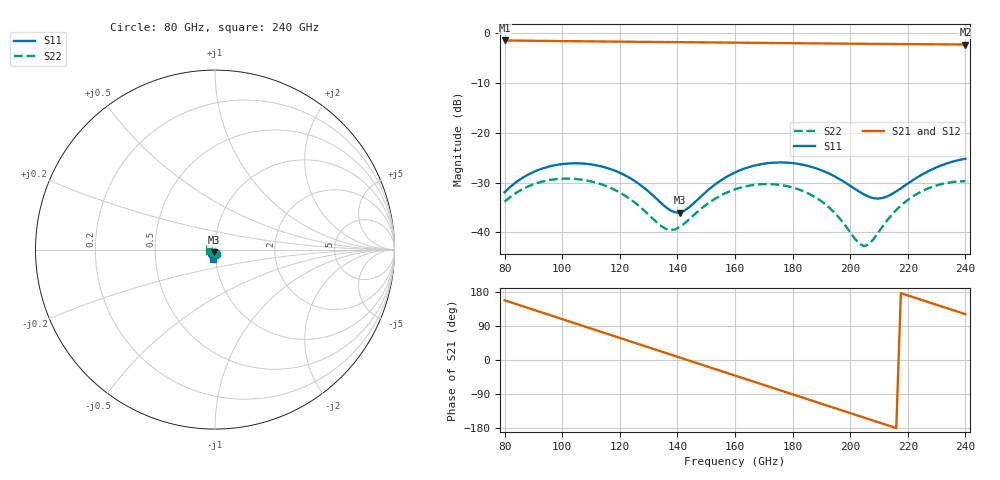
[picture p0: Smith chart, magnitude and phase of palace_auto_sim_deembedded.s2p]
! Created with skrf 1.11.0 (http://scikit-rf.org).
# GHz S DB R 50.0
!freq dBS11 angS11 dBS21 angS21 dBS12 angS12 dBS22 angS22
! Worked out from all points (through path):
!   101 points, 80 GHz to 240 GHz, reference 50 ohm
!   highest |S21| = -1.40 dB at 80 GHz (marker M1); lowest = -2.2 dB at 240 GHz (marker M2)
!   group delay of S21, straight-line fit = 6.89 ps
!   lowest |S11| = -36.0 dB at 140.8 GHz (marker M3), VSWR 1.03, Z = 49.4 - j1.43 ohm
!   |S11| at or under -10 dB: start of sweep to end of sweep
!   |S22| runs from -42.8 to -29.2 dB; largest |S21 - S12| = 1.4e-13
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80  -31.95 -75.3  -1.40 157.6  -1.40 157.6  -33.86 -85.7
86.4  -29.00 -81.5  -1.44 141.6  -1.44 141.6  -31.29 -94.4
94.4  -26.95 -95.2  -1.50 121.8  -1.50 121.8  -29.64 -110.7
100.8  -26.24 -107.4  -1.54 105.9  -1.54 105.9  -29.22 -124.7
107.2  -26.18 -119.6  -1.57 90.0  -1.57 90.0  -29.46 -138.7
120  -28.04 -141.2  -1.64 58.2  -1.64 58.2  -32.02 -162.9
128  -30.87 -148.3  -1.69 38.4  -1.69 38.4  -35.40 -169.2
134.4  -34.17 -142.0  -1.72 22.5  -1.72 22.5  -38.78 -157.5
137.6  -35.65 -130.3  -1.73 14.5  -1.73 14.5  -39.59 -142.8
140.8  -36.05 -113.4  -1.75 6.6  -1.75 6.6  -38.97 -127.7
150.4  -31.65 -86.0  -1.80 -17.2  -1.80 -17.2  -34.31 -115.4
160  -27.98 -91.7  -1.85 -41.1  -1.85 -41.1  -31.38 -128.1
168  -26.43 -103.0  -1.89 -60.9  -1.89 -60.9  -30.39 -143.4
174.4  -25.98 -113.0  -1.92 -76.8  -1.92 -76.8  -30.40 -156.6
187.2  -26.97 -131.5  -1.99 -108.5  -1.99 -108.5  -32.74 178.6
193.6  -28.47 -137.3  -2.02 -124.3  -2.02 -124.3  -35.53 170.6
204.8  -32.41 -129.0  -2.07 -152.0  -2.07 -152.0  -42.82 -154.1
209.6  -33.24 -113.2  -2.09 -163.9  -2.09 -163.9  -40.20 -122.3
214.4  -32.36 -97.1  -2.11 -175.8  -2.11 -175.8  -36.53 -115.5
220.8  -29.90 -87.4  -2.14 168.4  -2.14 168.4  -33.17 -121.6
227.2  -27.70 -88.0  -2.17 152.6  -2.17 152.6  -31.17 -133.2
240  -25.22 -100.9  -2.22 120.9  -2.22 120.9  -29.74 -161.1
